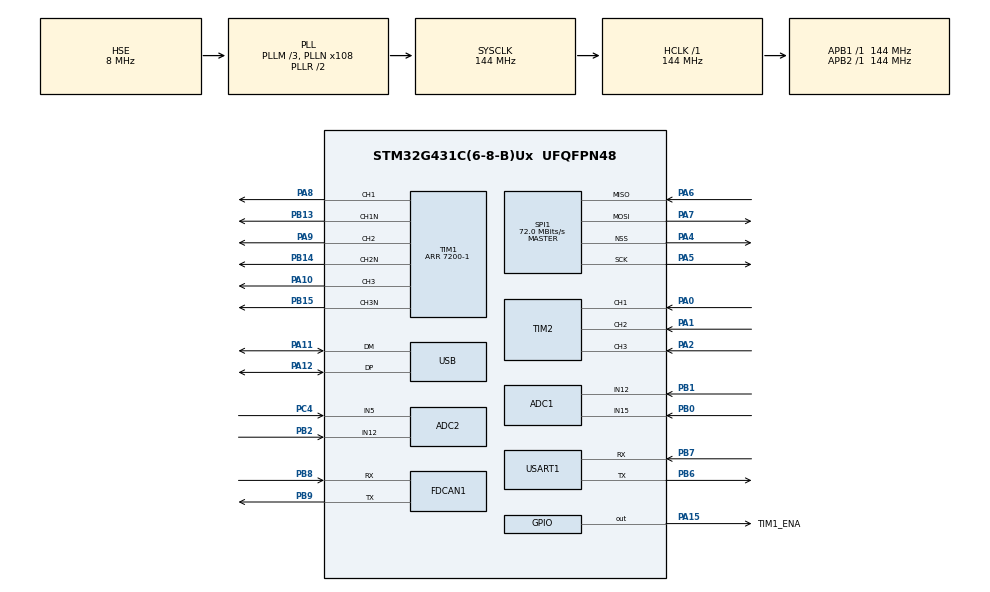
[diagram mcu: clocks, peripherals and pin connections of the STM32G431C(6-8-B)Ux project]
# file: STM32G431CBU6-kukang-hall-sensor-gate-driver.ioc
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ADC1.Channel-0\#ChannelRegularConversion=ADC_CHANNEL_15
ADC1.EnableInjectedConversion=ENABLE
ADC1.ExternalTrigInjecConv=ADC_EXTERNALTRIGINJEC_T1_TRGO
ADC1.InjNumberOfConversion=2
ADC1.InjectedChannel-1\#ChannelInjectedConversion=ADC_CHANNEL_15
ADC1.InjectedChannel-2\#ChannelInjectedConversion=ADC_CHANNEL_12
ADC1.InjectedConvMode=Discontinuous
ADC1.InjectedOffsetNumber-1\#ChannelInjectedConversion=ADC_OFFSET_NONE
ADC1.InjectedOffsetNumber-2\#ChannelInjectedConversion=ADC_OFFSET_NONE
ADC1.InjectedRank-1\#ChannelInjectedConversion=1
ADC1.InjectedRank-2\#ChannelInjectedConversion=2
ADC1.InjectedSamplingTime-1\#ChannelInjectedConversion=ADC_SAMPLETIME_6CYCLES_5
ADC1.InjectedSamplingTime-2\#ChannelInjectedConversion=ADC_SAMPLETIME_6CYCLES_5
ADC1.NbrOfConversionFlag=1
ADC1.OffsetNumber-0\#ChannelRegularConversion=ADC_OFFSET_NONE
ADC1.Rank-0\#ChannelRegularConversion=1
ADC1.Rank1_Channel=ADC_CHANNEL_15
ADC1.Rank2_Channel=ADC_CHANNEL_12
ADC1.SamplingTime-0\#ChannelRegularConversion=ADC_SAMPLETIME_2CYCLES_5
ADC1.master=1
ADC2.Channel-2\#ChannelRegularConversion=ADC_CHANNEL_12
ADC2.EnableInjectedConversion=ENABLE
ADC2.EnableRegularConversion=ENABLE
ADC2.ExternalTrigInjecConv=ADC_EXTERNALTRIGINJEC_T1_TRGO
ADC2.InjNumberOfConversion=2
ADC2.InjectedChannel-3\#ChannelInjectedConversion=ADC_CHANNEL_12
ADC2.InjectedChannel-4\#ChannelInjectedConversion=ADC_CHANNEL_5
ADC2.InjectedConvMode=Discontinuous
ADC2.InjectedOffsetNumber-3\#ChannelInjectedConversion=ADC_OFFSET_NONE
ADC2.InjectedOffsetNumber-4\#ChannelInjectedConversion=ADC_OFFSET_NONE
ADC2.InjectedRank-3\#ChannelInjectedConversion=1
ADC2.InjectedRank-4\#ChannelInjectedConversion=2
ADC2.InjectedSamplingTime-3\#ChannelInjectedConversion=ADC_SAMPLETIME_6CYCLES_5
ADC2.InjectedSamplingTime-4\#ChannelInjectedConversion=ADC_SAMPLETIME_6CYCLES_5
ADC2.NbrOfConversionFlag=1
ADC2.OffsetNumber-2\#ChannelRegularConversion=ADC_OFFSET_NONE
ADC2.Rank-2\#ChannelRegularConversion=1
ADC2.Rank2_Channel=ADC_CHANNEL_5
ADC2.SamplingTime-2\#ChannelRegularConversion=ADC_SAMPLETIME_2CYCLES_5
FDCAN1.CalculateBaudRateNominal=500000
FDCAN1.CalculateTimeBitNominal=2000
FDCAN1.CalculateTimeQuantumNominal=500.0
FDCAN1.NominalPrescaler=72
FDCAN1.NominalTimeSeg1=2
Mcu.Family=STM32G4
Mcu.Name=STM32G431C(6-8-B)Ux
Mcu.Package=UFQFPN48
NVIC.ADC1_2_IRQn=true\:0\:0\:false\:false\:true\:true\:true\:true
NVIC.FDCAN1_IT0_IRQn=true\:0\:0\:false\:false\:true\:true\:true\:true
NVIC.FDCAN1_IT1_IRQn=true\:0\:0\:false\:false\:true\:true\:true\:true
NVIC.PriorityGroup=NVIC_PRIORITYGROUP_4
NVIC.TIM1_BRK_TIM15_IRQn=true\:0\:0\:false\:false\:true\:true\:true\:true
NVIC.TIM1_CC_IRQn=true\:0\:0\:false\:false\:true\:true\:true\:true
NVIC.TIM1_TRG_COM_TIM17_IRQn=true\:0\:0\:false\:false\:true\:true\:true\:true
NVIC.TIM1_UP_TIM16_IRQn=true\:0\:0\:false\:false\:true\:true\:true\:true
NVIC.TIM2_IRQn=true\:0\:0\:false\:false\:true\:true\:true\:true
NVIC.USB_LP_IRQn=true\:0\:0\:false\:false\:true\:false\:true\:true
PA0.GPIO_ModeDefaultPP=GPIO_MODE_AF_PP
PA0.GPIO_PuPd=GPIO_NOPULL
PA0.Signal=S_TIM2_CH1
PA1.GPIO_ModeDefaultPP=GPIO_MODE_AF_PP
PA1.GPIO_PuPd=GPIO_NOPULL
PA1.Signal=S_TIM2_CH2
PA10.GPIO_PuPd=GPIO_PULLDOWN
PA10.Signal=S_TIM1_CH3
PA11.Mode=Device
PA11.Signal=USB_DM
PA12.Mode=Device
PA12.Signal=USB_DP
PA13.Mode=Serial_Wire
PA13.Signal=SYS_JTMS-SWDIO
PA14.Mode=Serial_Wire
PA14.Signal=SYS_JTCK-SWCLK
PA15.GPIO_Label=TIM1_ENA
PA15.GPIO_PuPd=GPIO_PULLDOWN
PA15.Signal=GPIO_Output
PA2.GPIO_ModeDefaultPP=GPIO_MODE_AF_PP
PA2.GPIO_PuPd=GPIO_NOPULL
PA2.Signal=S_TIM2_CH3
PA4.Mode=NSS_Signal_Hard_Output
PA4.Signal=SPI1_NSS
PA5.Mode=Full_Duplex_Master
PA5.Signal=SPI1_SCK
PA6.Mode=Full_Duplex_Master
PA6.Signal=SPI1_MISO
PA7.Mode=Full_Duplex_Master
PA7.Signal=SPI1_MOSI
PA8.GPIO_PuPd=GPIO_PULLDOWN
PA8.Signal=S_TIM1_CH1
PA9.GPIO_PuPd=GPIO_PULLDOWN
PA9.Signal=S_TIM1_CH2
PB0.Mode=IN15-Single-Ended
PB0.Signal=ADC1_IN15
PB1.Mode=IN12-Single-Ended
PB1.Signal=ADC1_IN12
PB13.GPIO_PuPd=GPIO_PULLDOWN
PB13.Mode=PWM Generation1 CH1 CH1N
PB13.Signal=TIM1_CH1N
PB14.GPIO_PuPd=GPIO_PULLDOWN
PB14.Mode=PWM Generation2 CH2 CH2N
PB14.Signal=TIM1_CH2N
PB15.GPIO_PuPd=GPIO_PULLDOWN
PB15.Mode=PWM Generation3 CH3 CH3N
PB15.Signal=TIM1_CH3N
PB2.Mode=IN12-Single-Ended
PB2.Signal=ADC2_IN12
PB6.Mode=Asynchronous
PB6.Signal=USART1_TX
PB7.Mode=Asynchronous
PB7.Signal=USART1_RX
PB8-BOOT0.GPIO_PuPd=GPIO_PULLUP
PB8-BOOT0.GPIO_Speed=GPIO_SPEED_FREQ_VERY_HIGH
PB8-BOOT0.Mode=FDCAN_Activate
PB8-BOOT0.Signal=FDCAN1_RX
PB9.GPIO_Speed=GPIO_SPEED_FREQ_VERY_HIGH
PB9.Mode=FDCAN_Activate
PB9.Signal=FDCAN1_TX
PC14-OSC32_IN.Mode=LSE-External-Oscillator
PC14-OSC32_IN.Signal=RCC_OSC32_IN
PC15-OSC32_OUT.Mode=LSE-External-Oscillator
PC15-OSC32_OUT.Signal=RCC_OSC32_OUT
PC4.Mode=IN5-Single-Ended
PC4.Signal=ADC2_IN5
PF0-OSC_IN.Mode=HSE-External-Oscillator
PF0-OSC_IN.Signal=RCC_OSC_IN
PF1-OSC_OUT.Mode=HSE-External-Oscillator
PF1-OSC_OUT.Signal=RCC_OSC_OUT
ProjectManager.HeapSize=0x200
ProjectManager.StackSize=0x400
ProjectManager.TargetToolchain=STM32CubeIDE
RCC.ADC12Freq_Value=144000000
RCC.AHBFreq_Value=144000000
RCC.APB1Freq_Value=144000000
RCC.APB1TimFreq_Value=144000000
RCC.APB2Freq_Value=144000000
RCC.APB2TimFreq_Value=144000000
RCC.CortexFreq_Value=144000000
RCC.EXTERNAL_CLOCK_VALUE=12288000
RCC.HCLKFreq_Value=144000000
RCC.HSE_VALUE=8000000
RCC.HSI48_VALUE=48000000
RCC.HSI_VALUE=16000000
RCC.PLLM=RCC_PLLM_DIV3
RCC.PLLN=108
RCC.PLLQ=RCC_PLLQ_DIV6
RCC.PLLSourceVirtual=RCC_PLLSOURCE_HSE
RCC.SYSCLKFreq_VALUE=144000000
RCC.SYSCLKSource=RCC_SYSCLKSOURCE_PLLCLK
RCC.USBFreq_Value=48000000
RCC.VCOOutputFreq_Value=288000000
SH.S_TIM1_CH1.0=TIM1_CH1,PWM Generation1 CH1 CH1N
SH.S_TIM1_CH2.0=TIM1_CH2,PWM Generation2 CH2 CH2N
SH.S_TIM1_CH3.0=TIM1_CH3,PWM Generation3 CH3 CH3N
SH.S_TIM2_CH1.0=TIM2_CH1,Xored_Inputs_Hall_Sensor_Interface
SH.S_TIM2_CH2.0=TIM2_CH2,Xored_Inputs_Hall_Sensor_Interface
SH.S_TIM2_CH3.0=TIM2_CH3,Xored_Inputs_Hall_Sensor_Interface
SPI1.CalculateBaudRate=72.0 MBits/s
SPI1.Direction=SPI_DIRECTION_2LINES
SPI1.Mode=SPI_MODE_MASTER
SPI1.VirtualNSS=VM_NSSHARD
SPI1.VirtualType=VM_MASTER
TIM1.Channel-PWM\ Generation1\ CH1\ CH1N=TIM_CHANNEL_1
TIM1.Channel-PWM\ Generation2\ CH2\ CH2N=TIM_CHANNEL_2
TIM1.Channel-PWM\ Generation3\ CH3\ CH3N=TIM_CHANNEL_3
TIM1.Channel-PWM\ Generation4\ No\ Output=TIM_CHANNEL_4
TIM1.DeadTime=136
TIM1.OCIdleState_1=TIM_OCIDLESTATE_RESET
TIM1.OCIdleState_2=TIM_OCIDLESTATE_RESET
TIM1.OCIdleState_3=TIM_OCIDLESTATE_RESET
TIM1.OCNIdleState_1=TIM_OCNIDLESTATE_RESET
TIM1.OCNIdleState_2=TIM_OCNIDLESTATE_RESET
TIM1.OCNIdleState_3=TIM_OCNIDLESTATE_RESET
TIM1.OCNPolarity_1=TIM_OCNPOLARITY_HIGH
TIM1.OCNPolarity_2=TIM_OCNPOLARITY_HIGH
TIM1.OCNPolarity_3=TIM_OCNPOLARITY_HIGH
TIM1.OCPolarity_1=TIM_OCPOLARITY_HIGH
TIM1.OCPolarity_2=TIM_OCPOLARITY_HIGH
TIM1.OCPolarity_3=TIM_OCPOLARITY_HIGH
TIM1.PeriodNoDither=7200-1
TIM1.TIM_MasterOutputTrigger=TIM_TRGO_OC1
USART1.VirtualMode-Asynchronous=VM_ASYNC
USB_DEVICE.CLASS_NAME_FS=CDC
USB_DEVICE.VirtualMode=Cdc
USB_DEVICE.VirtualModeFS=Cdc_FS
VP_CORDIC_VS_CORDIC.Mode=CORDIC_Activate
VP_FMAC_VS_FMAC.Mode=FMAC_Activate
VP_SYS_VS_DBSignals.Mode=DisableDeadBatterySignals
VP_TIM1_VS_no_output4.Mode=PWM Generation4 No Output
VP_USB_DEVICE_VS_USB_DEVICE_CDC_FS.Mode=CDC_FS
board=custom

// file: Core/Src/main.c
/* USER CODE BEGIN Header */
/**
 ******************************************************************************
 * @file           : main.c
 * @brief          : Main program body
 ******************************************************************************
 * @attention
 *
 * Copyright (c) 2026 STMicroelectronics.
 * All rights reserved.
 *
 * This software is licensed under terms that can be found in the LICENSE file
 * in the root directory of this software component.
 * If no LICENSE file comes with this software, it is provided AS-IS.
 *
 ******************************************************************************
 */
/* USER CODE END Header */
#include "main.h"
#include "usb_device.h"

/* USER CODE BEGIN Includes */
#include "config.h"
#include "current_sensor.h"
#include "six_step.h"

/* USER CODE END Includes */

ADC_HandleTypeDef hadc1;
ADC_HandleTypeDef hadc2;

CORDIC_HandleTypeDef hcordic;

FDCAN_HandleTypeDef hfdcan1;

FMAC_HandleTypeDef hfmac;

SPI_HandleTypeDef hspi1;

TIM_HandleTypeDef htim1;
TIM_HandleTypeDef htim2;

UART_HandleTypeDef huart1;

/* USER CODE BEGIN PV */
uint8_t usb_rx_buffer[64];
uint8_t usb_rx_index = 0;
uint8_t usb_cmd_ready = 0;
/* USER CODE END PV */

void SystemClock_Config(void);
static void MX_GPIO_Init(void);
static void MX_FDCAN1_Init(void);
static void MX_SPI1_Init(void);
static void MX_TIM1_Init(void);
static void MX_USART1_UART_Init(void);
static void MX_TIM2_Init(void);
static void MX_CORDIC_Init(void);
static void MX_FMAC_Init(void);
static void MX_ADC1_Init(void);
static void MX_ADC2_Init(void);
/* USER CODE BEGIN PFP */
void Process_USB_Receive(uint8_t *Buf, uint32_t Len);
void Parse_USB_Command(void);
/* USER CODE END PFP */

/* USER CODE BEGIN 0 */
FDCAN_RxHeaderTypeDef RxHeader;
uint8_t RxData[8];

volatile uint32_t last_can_cmd_tick = 0;
volatile uint8_t can_motor_active = 0;
volatile uint8_t can_cmd_pending = 0;
volatile uint8_t can_target_run_state = 0;
volatile uint16_t can_target_rpm = 0;

void Check_PB8_BOOT0_Config(void) {
  FLASH_OBProgramInitTypeDef OBInit;
  HAL_FLASHEx_OBGetConfig(&OBInit);

  // If BOOT0 is currently taken from PIN (FLASH_OPTR_nSWBOOT0 is set),
  // we must change it to OB_BOOT0_FROM_OB and ensure nBOOT0 = 1 so PB8 is freed
  // for CAN RX!
  if ((OBInit.USERConfig & FLASH_OPTR_nSWBOOT0) != 0) {
    HAL_FLASH_Unlock();
    HAL_FLASH_OB_Unlock();

    OBInit.OptionType = OPTIONBYTE_USER;
    OBInit.USERType = OB_USER_nSWBOOT0 | OB_USER_nBOOT0;
    OBInit.USERConfig = OB_BOOT0_FROM_OB | OB_nBOOT0_SET;

    if (HAL_FLASHEx_OBProgram(&OBInit) == HAL_OK) {
      HAL_FLASH_OB_Launch(); // Applies Option Bytes and resets MCU
    }
    HAL_FLASH_OB_Lock();
    HAL_FLASH_Lock();
  }
}

void HAL_FDCAN_RxFifo0Callback(FDCAN_HandleTypeDef *hfdcan,
                               uint32_t RxFifo0ITs) {
  if ((RxFifo0ITs & FDCAN_IT_RX_FIFO0_NEW_MESSAGE) != RESET) {
    if (HAL_FDCAN_GetRxMessage(hfdcan, FDCAN_RX_FIFO0, &RxHeader, RxData) ==
        HAL_OK) {
      if (RxHeader.Identifier == 0x10) {
        can_target_run_state = RxData[0];
        can_target_rpm = (uint16_t)(RxData[1] | (RxData[2] << 8));
        last_can_cmd_tick = HAL_GetTick();
        can_cmd_pending = 1;
      }
    }
  }
}

void Process_USB_Receive(uint8_t *Buf, uint32_t Len) {
  for (uint32_t i = 0; i < Len; i++) {
    if (usb_rx_index < sizeof(usb_rx_buffer) - 1) {
      usb_rx_buffer[usb_rx_index++] = Buf[i];
      if (Buf[i] == '\n' || Buf[i] == '\r') {
        usb_cmd_ready = 1;
      }
    } else {
      usb_rx_index = 0; // Overflow, reset
    }
  }
}

void Parse_USB_Command(void) {
  if (usb_cmd_ready) {
    for (int i = 0; i < usb_rx_index; i++) {
      if (usb_rx_buffer[i] == '\r' || usb_rx_buffer[i] == '\n') {
        usb_rx_buffer[i] = '\0';
        break;
      }
    }
    usb_rx_buffer[usb_rx_index] = '\0';

    Config_ParseCommand((char *)usb_rx_buffer);

    usb_rx_index = 0;
    usb_cmd_ready = 0;
  }
}
/* USER CODE END 0 */

int main(void) {

  /* MCU Configuration--------------------------------------------------------*/

  /* Reset of all peripherals, Initializes the Flash interface and the Systick.
   */
  HAL_Init();

  /* Configure the system clock */
  SystemClock_Config();

  /* Initialize all configured peripherals */
  MX_GPIO_Init();
  MX_FDCAN1_Init();
  MX_SPI1_Init();
  MX_TIM1_Init();
  MX_USART1_UART_Init();
  MX_USB_Device_Init();
  MX_TIM2_Init();
  MX_CORDIC_Init();
  MX_FMAC_Init();
  MX_ADC1_Init();
  MX_ADC2_Init();
  /* USER CODE BEGIN 2 */
  Check_PB8_BOOT0_Config();

  FDCAN_FilterTypeDef sFilterConfig;
  sFilterConfig.IdType = FDCAN_STANDARD_ID;
  sFilterConfig.FilterIndex = 0;
  sFilterConfig.FilterType = FDCAN_FILTER_MASK;
  sFilterConfig.FilterConfig = FDCAN_FILTER_TO_RXFIFO0;
  sFilterConfig.FilterID1 = 0x000;
  sFilterConfig.FilterID2 = 0x000;

  if (HAL_FDCAN_ConfigFilter(&hfdcan1, &sFilterConfig) != HAL_OK) {
    Error_Handler();
  }

  HAL_FDCAN_ConfigGlobalFilter(&hfdcan1, FDCAN_ACCEPT_IN_RX_FIFO0,
                               FDCAN_ACCEPT_IN_RX_FIFO0, FDCAN_FILTER_REMOTE,
                               FDCAN_FILTER_REMOTE);

  if (HAL_FDCAN_Start(&hfdcan1) != HAL_OK) {
    Error_Handler();
  }

  if (HAL_FDCAN_ActivateNotification(&hfdcan1, FDCAN_IT_RX_FIFO0_NEW_MESSAGE,
                                     0) != HAL_OK) {
    Error_Handler();
  }

  Config_Init();
  Config_ApplyPWMFrequency();
  SixStep_Init();
  CurrentSensor_Init();

  // Enable DWT Cycle Counter for timing
  CoreDebug->DEMCR |= CoreDebug_DEMCR_TRCENA_Msk;
  DWT->CYCCNT = 0;
  DWT->CTRL |= DWT_CTRL_CYCCNTENA_Msk;

  uint32_t last_verbose_time = HAL_GetTick();
  uint32_t last_can_status_tick = HAL_GetTick();
  uint32_t last_cycle_count = DWT->CYCCNT;
  /* USER CODE END 2 */

  /* Infinite loop */
  while (1) {

    /* USER CODE BEGIN 3 */
    uint32_t current_time = DWT->CYCCNT;
    uint32_t cycle_diff = current_time - last_cycle_count;

    // Limit control loop to ~20kHz to prevent float precision issues with very
    // small dt
    if (cycle_diff >= (SystemCoreClock / 20000)) {
      last_cycle_count = current_time;
      float dt = (float)cycle_diff / (float)SystemCoreClock;
      SixStep_Update(dt);
    }

    Parse_USB_Command();

    if (motor_config.verbose_output == 1) {
      if (HAL_GetTick() - last_verbose_time >= motor_config.verbose_period) {
        last_verbose_time = HAL_GetTick();
        SixStep_PrintVerbose();
      }
    }

    // Process pending CAN Motor Command in thread mode (so HAL_Delay in
    // SixStep_SetRPM works safely!)
    if (can_cmd_pending) {
      can_cmd_pending = 0;
      if (can_target_run_state == 1) {
        can_motor_active = 1;
        SixStep_SetRPM((float)can_target_rpm);
      } else {
        can_motor_active = 0;
        SixStep_Stop();
      }
    }

    // CAN Safety Watchdog: Auto-stop motor if throttle command packets stop
    // arriving for >350ms
    if (can_motor_active && (HAL_GetTick() - last_can_cmd_tick > 350)) {
      SixStep_Stop();
      can_motor_active = 0;
    }

    // Heartbeat & Status frame to Telemetry (CAN ID 0x20 every 100ms)
    if (HAL_GetTick() - last_can_status_tick >= 100) {
      last_can_status_tick = HAL_GetTick();

      // Bus-Off auto-recovery: clear CCCR.INIT if hardware entered bus-off
      if ((hfdcan1.Instance->PSR & FDCAN_PSR_BO) != 0) {
        CLEAR_BIT(hfdcan1.Instance->CCCR, FDCAN_CCCR_INIT);
      }

      FDCAN_TxHeaderTypeDef tx_hdr;
      uint8_t tx_data[8] = {0};

      tx_hdr.Identifier = 0x20;
      tx_hdr.IdType = FDCAN_STANDARD_ID;
      tx_hdr.TxFrameType = FDCAN_DATA_FRAME;
      tx_hdr.DataLength = FDCAN_DLC_BYTES_8;
      tx_hdr.ErrorStateIndicator = FDCAN_ESI_ACTIVE;
      tx_hdr.BitRateSwitch = FDCAN_BRS_OFF;
      tx_hdr.FDFormat = FDCAN_CLASSIC_CAN;
      tx_hdr.TxEventFifoControl = FDCAN_NO_TX_EVENTS;
      tx_hdr.MessageMarker = 0;

      extern float Get_DC_Bus_Voltage(void);
      extern float Get_Current_Iq(void);
      float vbus = Get_DC_Bus_Voltage();
      float actual_iq = Get_Current_Iq();

      uint16_t vbus_centi = (uint16_t)(vbus * 100.0f);
      int16_t iq_centi = (int16_t)(actual_iq * 100.0f);

      tx_data[0] = can_motor_active;
      tx_data[1] = (uint8_t)(vbus_centi & 0xFF);
      tx_data[2] = (uint8_t)((vbus_centi >> 8) & 0xFF);
      tx_data[3] = (uint8_t)(iq_centi & 0xFF);
      tx_data[4] = (uint8_t)((iq_centi >> 8) & 0xFF);
      tx_data[5] = 0;
      tx_data[6] = 0;
      tx_data[7] = 0;

      if (HAL_FDCAN_GetTxFifoFreeLevel(&hfdcan1) > 0) {
        HAL_FDCAN_AddMessageToTxFifoQ(&hfdcan1, &tx_hdr, tx_data);
      } else {
        HAL_FDCAN_AbortTxRequest(&hfdcan1, FDCAN_TX_BUFFER0 | FDCAN_TX_BUFFER1 |
                                               FDCAN_TX_BUFFER2);
      }
    }
  }
  /* USER CODE END 3 */
}

void SystemClock_Config(void) {
  RCC_OscInitTypeDef RCC_OscInitStruct = {0};
  RCC_ClkInitTypeDef RCC_ClkInitStruct = {0};

  /** Configure the main internal regulator output voltage
   */
  HAL_PWREx_ControlVoltageScaling(PWR_REGULATOR_VOLTAGE_SCALE1);

  /** Initializes the RCC Oscillators according to the specified parameters
   * in the RCC_OscInitTypeDef structure.
   */
  RCC_OscInitStruct.OscillatorType = RCC_OSCILLATORTYPE_HSE;
  RCC_OscInitStruct.HSEState = RCC_HSE_ON;
  RCC_OscInitStruct.PLL.PLLState = RCC_PLL_ON;
  RCC_OscInitStruct.PLL.PLLSource = RCC_PLLSOURCE_HSE;
  RCC_OscInitStruct.PLL.PLLM = RCC_PLLM_DIV3;
  RCC_OscInitStruct.PLL.PLLN = 108;
  RCC_OscInitStruct.PLL.PLLP = RCC_PLLP_DIV2;
  RCC_OscInitStruct.PLL.PLLQ = RCC_PLLQ_DIV6;
  RCC_OscInitStruct.PLL.PLLR = RCC_PLLR_DIV2;
  if (HAL_RCC_OscConfig(&RCC_OscInitStruct) != HAL_OK) {
    Error_Handler();
  }

  /** Initializes the CPU, AHB and APB buses clocks
   */
  RCC_ClkInitStruct.ClockType = RCC_CLOCKTYPE_HCLK | RCC_CLOCKTYPE_SYSCLK |
                                RCC_CLOCKTYPE_PCLK1 | RCC_CLOCKTYPE_PCLK2;
  RCC_ClkInitStruct.SYSCLKSource = RCC_SYSCLKSOURCE_PLLCLK;
  RCC_ClkInitStruct.AHBCLKDivider = RCC_SYSCLK_DIV1;
  RCC_ClkInitStruct.APB1CLKDivider = RCC_HCLK_DIV1;
  RCC_ClkInitStruct.APB2CLKDivider = RCC_HCLK_DIV1;

  if (HAL_RCC_ClockConfig(&RCC_ClkInitStruct, FLASH_LATENCY_4) != HAL_OK) {
    Error_Handler();
  }
}

static void MX_ADC1_Init(void) {

  ADC_MultiModeTypeDef multimode = {0};
  ADC_ChannelConfTypeDef sConfig = {0};
  ADC_InjectionConfTypeDef sConfigInjected = {0};

  /** Common config
   */
  hadc1.Instance = ADC1;
  hadc1.Init.ClockPrescaler = ADC_CLOCK_SYNC_PCLK_DIV4;
  hadc1.Init.Resolution = ADC_RESOLUTION_12B;
  hadc1.Init.DataAlign = ADC_DATAALIGN_RIGHT;
  hadc1.Init.GainCompensation = 0;
  hadc1.Init.ScanConvMode = ADC_SCAN_ENABLE;
  hadc1.Init.EOCSelection = ADC_EOC_SINGLE_CONV;
  hadc1.Init.LowPowerAutoWait = DISABLE;
  hadc1.Init.ContinuousConvMode = DISABLE;
  hadc1.Init.NbrOfConversion = 1;
  hadc1.Init.DiscontinuousConvMode = DISABLE;
  hadc1.Init.ExternalTrigConv = ADC_SOFTWARE_START;
  hadc1.Init.ExternalTrigConvEdge = ADC_EXTERNALTRIGCONVEDGE_NONE;
  hadc1.Init.DMAContinuousRequests = DISABLE;
  hadc1.Init.Overrun = ADC_OVR_DATA_PRESERVED;
  hadc1.Init.OversamplingMode = DISABLE;
  if (HAL_ADC_Init(&hadc1) != HAL_OK) {
    Error_Handler();
  }

  /** Configure the ADC multi-mode
   */
  multimode.Mode = ADC_MODE_INDEPENDENT;
  if (HAL_ADCEx_MultiModeConfigChannel(&hadc1, &multimode) != HAL_OK) {
    Error_Handler();
  }

  /** Configure Regular Channel
   */
  sConfig.Channel = ADC_CHANNEL_15;
  sConfig.Rank = ADC_REGULAR_RANK_1;
  sConfig.SamplingTime = ADC_SAMPLETIME_2CYCLES_5;
  sConfig.SingleDiff = ADC_SINGLE_ENDED;
  sConfig.OffsetNumber = ADC_OFFSET_NONE;
  sConfig.Offset = 0;
  if (HAL_ADC_ConfigChannel(&hadc1, &sConfig) != HAL_OK) {
    Error_Handler();
  }

  /** Configure Injected Channel
   */
  sConfigInjected.InjectedChannel = ADC_CHANNEL_15;
  sConfigInjected.InjectedRank = ADC_INJECTED_RANK_1;
  sConfigInjected.InjectedSamplingTime = ADC_SAMPLETIME_6CYCLES_5;
  sConfigInjected.InjectedSingleDiff = ADC_SINGLE_ENDED;
  sConfigInjected.InjectedOffsetNumber = ADC_OFFSET_NONE;
  sConfigInjected.InjectedOffset = 0;
  sConfigInjected.InjectedNbrOfConversion = 2;
  sConfigInjected.InjectedDiscontinuousConvMode = DISABLE;
  sConfigInjected.AutoInjectedConv = DISABLE;
  sConfigInjected.QueueInjectedContext = DISABLE;
  sConfigInjected.ExternalTrigInjecConv = ADC_EXTERNALTRIGINJEC_T1_TRGO;
  sConfigInjected.ExternalTrigInjecConvEdge =
      ADC_EXTERNALTRIGINJECCONV_EDGE_RISING;
  sConfigInjected.InjecOversamplingMode = DISABLE;
  if (HAL_ADCEx_InjectedConfigChannel(&hadc1, &sConfigInjected) != HAL_OK) {
    Error_Handler();
  }

  /** Configure Injected Channel
   */
  sConfigInjected.InjectedChannel = ADC_CHANNEL_12;
  sConfigInjected.InjectedRank = ADC_INJECTED_RANK_2;
  if (HAL_ADCEx_InjectedConfigChannel(&hadc1, &sConfigInjected) != HAL_OK) {
    Error_Handler();
  }
  /* USER CODE BEGIN ADC1_Init 2 */

  /** Configure Injected Channel
   */
  sConfigInjected.InjectedChannel = ADC_CHANNEL_15;
  sConfigInjected.InjectedRank = ADC_INJECTED_RANK_1;
  sConfigInjected.InjectedSamplingTime = ADC_SAMPLETIME_6CYCLES_5;
  sConfigInjected.InjectedSingleDiff = ADC_SINGLE_ENDED;
  sConfigInjected.InjectedOffsetNumber = ADC_OFFSET_NONE;
  sConfigInjected.InjectedOffset = 0;
  sConfigInjected.InjectedNbrOfConversion = 2;
  sConfigInjected.InjectedDiscontinuousConvMode = DISABLE;
  sConfigInjected.AutoInjectedConv = DISABLE;
  sConfigInjected.QueueInjectedContext = DISABLE;
  sConfigInjected.ExternalTrigInjecConv = ADC_EXTERNALTRIGINJEC_T1_TRGO;
  sConfigInjected.ExternalTrigInjecConvEdge =
      ADC_EXTERNALTRIGINJECCONV_EDGE_RISING;
  sConfigInjected.InjecOversamplingMode = DISABLE;
  if (HAL_ADCEx_InjectedConfigChannel(&hadc1, &sConfigInjected) != HAL_OK) {
    Error_Handler();
  }

  /** Configure Injected Channel
   */
  sConfigInjected.InjectedChannel = ADC_CHANNEL_12;
  sConfigInjected.InjectedRank = ADC_INJECTED_RANK_2;
  if (HAL_ADCEx_InjectedConfigChannel(&hadc1, &sConfigInjected) != HAL_OK) {
    Error_Handler();
  }
  /* USER CODE END ADC1_Init 2 */
}

static void MX_ADC2_Init(void) {

  ADC_ChannelConfTypeDef sConfig = {0};
  ADC_InjectionConfTypeDef sConfigInjected = {0};

  /** Common config
   */
  hadc2.Instance = ADC2;
  hadc2.Init.ClockPrescaler = ADC_CLOCK_SYNC_PCLK_DIV4;
  hadc2.Init.Resolution = ADC_RESOLUTION_12B;
  hadc2.Init.DataAlign = ADC_DATAALIGN_RIGHT;
  hadc2.Init.GainCompensation = 0;
  hadc2.Init.ScanConvMode = ADC_SCAN_ENABLE;
  hadc2.Init.EOCSelection = ADC_EOC_SINGLE_CONV;
  hadc2.Init.LowPowerAutoWait = DISABLE;
  hadc2.Init.ContinuousConvMode = DISABLE;
  hadc2.Init.NbrOfConversion = 1;
  hadc2.Init.DiscontinuousConvMode = DISABLE;
  hadc2.Init.ExternalTrigConv = ADC_SOFTWARE_START;
  hadc2.Init.ExternalTrigConvEdge = ADC_EXTERNALTRIGCONVEDGE_NONE;
  hadc2.Init.DMAContinuousRequests = DISABLE;
  hadc2.Init.Overrun = ADC_OVR_DATA_PRESERVED;
  hadc2.Init.OversamplingMode = DISABLE;
  if (HAL_ADC_Init(&hadc2) != HAL_OK) {
    Error_Handler();
  }

  /** Configure Regular Channel
   */
  sConfig.Channel = ADC_CHANNEL_12;
  sConfig.Rank = ADC_REGULAR_RANK_1;
  sConfig.SamplingTime = ADC_SAMPLETIME_2CYCLES_5;
  sConfig.SingleDiff = ADC_SINGLE_ENDED;
  sConfig.OffsetNumber = ADC_OFFSET_NONE;
  sConfig.Offset = 0;
  if (HAL_ADC_ConfigChannel(&hadc2, &sConfig) != HAL_OK) {
    Error_Handler();
  }

  /** Configure Injected Channel
   */
  sConfigInjected.InjectedChannel = ADC_CHANNEL_12;
  sConfigInjected.InjectedRank = ADC_INJECTED_RANK_1;
  sConfigInjected.InjectedSamplingTime = ADC_SAMPLETIME_6CYCLES_5;
  sConfigInjected.InjectedSingleDiff = ADC_SINGLE_ENDED;
  sConfigInjected.InjectedOffsetNumber = ADC_OFFSET_NONE;
  sConfigInjected.InjectedOffset = 0;
  sConfigInjected.InjectedNbrOfConversion = 2;
  sConfigInjected.InjectedDiscontinuousConvMode = DISABLE;
  sConfigInjected.AutoInjectedConv = DISABLE;
  sConfigInjected.QueueInjectedContext = DISABLE;
  sConfigInjected.ExternalTrigInjecConv = ADC_EXTERNALTRIGINJEC_T1_TRGO;
  sConfigInjected.ExternalTrigInjecConvEdge =
      ADC_EXTERNALTRIGINJECCONV_EDGE_RISING;
  sConfigInjected.InjecOversamplingMode = DISABLE;
  if (HAL_ADCEx_InjectedConfigChannel(&hadc2, &sConfigInjected) != HAL_OK) {
    Error_Handler();
  }

  /** Configure Injected Channel
   */
  sConfigInjected.InjectedChannel = ADC_CHANNEL_5;
  sConfigInjected.InjectedRank = ADC_INJECTED_RANK_2;
  if (HAL_ADCEx_InjectedConfigChannel(&hadc2, &sConfigInjected) != HAL_OK) {
    Error_Handler();
  }
}

static void MX_CORDIC_Init(void) {

  hcordic.Instance = CORDIC;
  if (HAL_CORDIC_Init(&hcordic) != HAL_OK) {
    Error_Handler();
  }
}

static void MX_FDCAN1_Init(void) {

  hfdcan1.Instance = FDCAN1;
  hfdcan1.Init.ClockDivider = FDCAN_CLOCK_DIV1;
  hfdcan1.Init.FrameFormat = FDCAN_FRAME_CLASSIC;
  hfdcan1.Init.Mode = FDCAN_MODE_NORMAL;
  hfdcan1.Init.AutoRetransmission = DISABLE;
  hfdcan1.Init.TransmitPause = DISABLE;
  hfdcan1.Init.ProtocolException = DISABLE;
  hfdcan1.Init.NominalPrescaler = 72;
  hfdcan1.Init.NominalSyncJumpWidth = 1;
  hfdcan1.Init.NominalTimeSeg1 = 2;
  hfdcan1.Init.NominalTimeSeg2 = 1;
  hfdcan1.Init.DataPrescaler = 1;
  hfdcan1.Init.DataSyncJumpWidth = 1;
  hfdcan1.Init.DataTimeSeg1 = 1;
  hfdcan1.Init.DataTimeSeg2 = 1;
  hfdcan1.Init.StdFiltersNbr = 0;
  hfdcan1.Init.ExtFiltersNbr = 0;
  hfdcan1.Init.TxFifoQueueMode = FDCAN_TX_FIFO_OPERATION;
  if (HAL_FDCAN_Init(&hfdcan1) != HAL_OK) {
    Error_Handler();
  }
}

static void MX_FMAC_Init(void) {

  hfmac.Instance = FMAC;
  if (HAL_FMAC_Init(&hfmac) != HAL_OK) {
    Error_Handler();
  }
}

static void MX_SPI1_Init(void) {

  /* SPI1 parameter configuration*/
  hspi1.Instance = SPI1;
  hspi1.Init.Mode = SPI_MODE_MASTER;
  hspi1.Init.Direction = SPI_DIRECTION_2LINES;
  hspi1.Init.DataSize = SPI_DATASIZE_4BIT;
  hspi1.Init.CLKPolarity = SPI_POLARITY_LOW;
  hspi1.Init.CLKPhase = SPI_PHASE_1EDGE;
  hspi1.Init.NSS = SPI_NSS_HARD_OUTPUT;
  hspi1.Init.BaudRatePrescaler = SPI_BAUDRATEPRESCALER_2;
  hspi1.Init.FirstBit = SPI_FIRSTBIT_MSB;
  hspi1.Init.TIMode = SPI_TIMODE_DISABLE;
  hspi1.Init.CRCCalculation = SPI_CRCCALCULATION_DISABLE;
  hspi1.Init.CRCPolynomial = 7;
  hspi1.Init.CRCLength = SPI_CRC_LENGTH_DATASIZE;
  hspi1.Init.NSSPMode = SPI_NSS_PULSE_ENABLE;
  if (HAL_SPI_Init(&hspi1) != HAL_OK) {
    Error_Handler();
  }
}

static void MX_TIM1_Init(void) {

  TIM_MasterConfigTypeDef sMasterConfig = {0};
  TIM_OC_InitTypeDef sConfigOC = {0};
  TIM_BreakDeadTimeConfigTypeDef sBreakDeadTimeConfig = {0};

  htim1.Instance = TIM1;
  htim1.Init.Prescaler = 0;
  htim1.Init.CounterMode = TIM_COUNTERMODE_UP;
  htim1.Init.Period = 7199;
  htim1.Init.ClockDivision = TIM_CLOCKDIVISION_DIV1;
  htim1.Init.RepetitionCounter = 0;
  htim1.Init.AutoReloadPreload = TIM_AUTORELOAD_PRELOAD_DISABLE;
  if (HAL_TIM_PWM_Init(&htim1) != HAL_OK) {
    Error_Handler();
  }
  sMasterConfig.MasterOutputTrigger = TIM_TRGO_OC1;
  sMasterConfig.MasterOutputTrigger2 = TIM_TRGO2_RESET;
  sMasterConfig.MasterSlaveMode = TIM_MASTERSLAVEMODE_DISABLE;
  if (HAL_TIMEx_MasterConfigSynchronization(&htim1, &sMasterConfig) != HAL_OK) {
    Error_Handler();
  }
  sConfigOC.OCMode = TIM_OCMODE_PWM1;
  sConfigOC.Pulse = 0;
  sConfigOC.OCPolarity = TIM_OCPOLARITY_HIGH;
  sConfigOC.OCNPolarity = TIM_OCNPOLARITY_HIGH;
  sConfigOC.OCFastMode = TIM_OCFAST_DISABLE;
  sConfigOC.OCIdleState = TIM_OCIDLESTATE_RESET;
  sConfigOC.OCNIdleState = TIM_OCNIDLESTATE_RESET;
  if (HAL_TIM_PWM_ConfigChannel(&htim1, &sConfigOC, TIM_CHANNEL_1) != HAL_OK) {
    Error_Handler();
  }
  if (HAL_TIM_PWM_ConfigChannel(&htim1, &sConfigOC, TIM_CHANNEL_2) != HAL_OK) {
    Error_Handler();
  }
  if (HAL_TIM_PWM_ConfigChannel(&htim1, &sConfigOC, TIM_CHANNEL_3) != HAL_OK) {
    Error_Handler();
  }
  if (HAL_TIM_PWM_ConfigChannel(&htim1, &sConfigOC, TIM_CHANNEL_4) != HAL_OK) {
    Error_Handler();
  }
  sBreakDeadTimeConfig.OffStateRunMode = TIM_OSSR_DISABLE;
  sBreakDeadTimeConfig.OffStateIDLEMode = TIM_OSSI_DISABLE;
  sBreakDeadTimeConfig.LockLevel = TIM_LOCKLEVEL_OFF;
  sBreakDeadTimeConfig.DeadTime = 136;
  sBreakDeadTimeConfig.BreakState = TIM_BREAK_DISABLE;
  sBreakDeadTimeConfig.BreakPolarity = TIM_BREAKPOLARITY_HIGH;
  sBreakDeadTimeConfig.BreakFilter = 0;
  sBreakDeadTimeConfig.BreakAFMode = TIM_BREAK_AFMODE_INPUT;
  sBreakDeadTimeConfig.Break2State = TIM_BREAK2_DISABLE;
  sBreakDeadTimeConfig.Break2Polarity = TIM_BREAK2POLARITY_HIGH;
  sBreakDeadTimeConfig.Break2Filter = 0;
  sBreakDeadTimeConfig.Break2AFMode = TIM_BREAK_AFMODE_INPUT;
  sBreakDeadTimeConfig.AutomaticOutput = TIM_AUTOMATICOUTPUT_DISABLE;
  if (HAL_TIMEx_ConfigBreakDeadTime(&htim1, &sBreakDeadTimeConfig) != HAL_OK) {
    Error_Handler();
  }
  HAL_TIM_MspPostInit(&htim1);
}

static void MX_TIM2_Init(void) {

  TIM_HallSensor_InitTypeDef sConfig = {0};
  TIM_MasterConfigTypeDef sMasterConfig = {0};

  htim2.Instance = TIM2;
  htim2.Init.Prescaler = 0;
  htim2.Init.CounterMode = TIM_COUNTERMODE_UP;
  htim2.Init.Period = 4294967295;
  htim2.Init.ClockDivision = TIM_CLOCKDIVISION_DIV1;
  htim2.Init.AutoReloadPreload = TIM_AUTORELOAD_PRELOAD_DISABLE;
  sConfig.IC1Polarity = TIM_ICPOLARITY_RISING;
  sConfig.IC1Prescaler = TIM_ICPSC_DIV1;
  sConfig.IC1Filter = 0x0F;
  sConfig.Commutation_Delay = 0;
  if (HAL_TIMEx_HallSensor_Init(&htim2, &sConfig) != HAL_OK) {
    Error_Handler();
  }
  sMasterConfig.MasterOutputTrigger = TIM_TRGO_OC2REF;
  sMasterConfig.MasterSlaveMode = TIM_MASTERSLAVEMODE_DISABLE;
  if (HAL_TIMEx_MasterConfigSynchronization(&htim2, &sMasterConfig) != HAL_OK) {
    Error_Handler();
  }
  /* USER CODE BEGIN TIM2_Init 2 */
  htim2.Instance = TIM2;
  htim2.Init.Prescaler = 0;
  htim2.Init.CounterMode = TIM_COUNTERMODE_UP;
  htim2.Init.Period = 4294967295;
  htim2.Init.ClockDivision = TIM_CLOCKDIVISION_DIV1;
  htim2.Init.AutoReloadPreload = TIM_AUTORELOAD_PRELOAD_DISABLE;
  sConfig.IC1Polarity = TIM_ICPOLARITY_RISING;
  sConfig.IC1Prescaler = TIM_ICPSC_DIV1;
  sConfig.IC1Filter = 0x0F;
  sConfig.Commutation_Delay = 0;
  if (HAL_TIMEx_HallSensor_Init(&htim2, &sConfig) != HAL_OK) {
    Error_Handler();
  }
  sMasterConfig.MasterOutputTrigger = TIM_TRGO_OC2REF;
  sMasterConfig.MasterSlaveMode = TIM_MASTERSLAVEMODE_DISABLE;
  if (HAL_TIMEx_MasterConfigSynchronization(&htim2, &sMasterConfig) != HAL_OK) {
    Error_Handler();
  }
  /* USER CODE END TIM2_Init 2 */
}

static void MX_USART1_UART_Init(void) {

  huart1.Instance = USART1;
  huart1.Init.BaudRate = 115200;
  huart1.Init.WordLength = UART_WORDLENGTH_8B;
  huart1.Init.StopBits = UART_STOPBITS_1;
  huart1.Init.Parity = UART_PARITY_NONE;
  huart1.Init.Mode = UART_MODE_TX_RX;
  huart1.Init.HwFlowCtl = UART_HWCONTROL_NONE;
  huart1.Init.OverSampling = UART_OVERSAMPLING_16;
  huart1.Init.OneBitSampling = UART_ONE_BIT_SAMPLE_DISABLE;
  huart1.Init.ClockPrescaler = UART_PRESCALER_DIV1;
  huart1.AdvancedInit.AdvFeatureInit = UART_ADVFEATURE_NO_INIT;
  if (HAL_UART_Init(&huart1) != HAL_OK) {
    Error_Handler();
  }
  if (HAL_UARTEx_SetTxFifoThreshold(&huart1, UART_TXFIFO_THRESHOLD_1_8) !=
      HAL_OK) {
    Error_Handler();
  }
  if (HAL_UARTEx_SetRxFifoThreshold(&huart1, UART_RXFIFO_THRESHOLD_1_8) !=
      HAL_OK) {
    Error_Handler();
  }
  if (HAL_UARTEx_DisableFifoMode(&huart1) != HAL_OK) {
    Error_Handler();
  }
}

static void MX_GPIO_Init(void) {
  GPIO_InitTypeDef GPIO_InitStruct = {0};

  /* GPIO Ports Clock Enable */
  __HAL_RCC_GPIOC_CLK_ENABLE();
  __HAL_RCC_GPIOF_CLK_ENABLE();
  __HAL_RCC_GPIOA_CLK_ENABLE();
  __HAL_RCC_GPIOB_CLK_ENABLE();

  /*Configure GPIO pin Output Level */
  HAL_GPIO_WritePin(TIM1_ENA_GPIO_Port, TIM1_ENA_Pin, GPIO_PIN_RESET);

  /*Configure GPIO pin : TIM1_ENA_Pin */
  GPIO_InitStruct.Pin = TIM1_ENA_Pin;
  GPIO_InitStruct.Mode = GPIO_MODE_OUTPUT_PP;
  GPIO_InitStruct.Pull = GPIO_PULLDOWN;
  GPIO_InitStruct.Speed = GPIO_SPEED_FREQ_LOW;
  HAL_GPIO_Init(TIM1_ENA_GPIO_Port, &GPIO_InitStruct);

}

void Error_Handler(void) {
  __disable_irq();
  while (1) {
  }
}
#ifdef USE_FULL_ASSERT
/**
 * @brief  Reports the name of the source file and the source line number
 *         where the assert_param error has occurred.
 * @param  file: pointer to the source file name
 * @param  line: assert_param error line source number
 * @retval None
 */
void assert_failed(uint8_t *file, uint32_t line) {
  /* USER CODE BEGIN 6 */
  /* User can add his own implementation to report the file name and line
     number, ex: printf("Wrong parameters value: file %s on line %d\r\n", file,
     line) */
  /* USER CODE END 6 */
}
#endif /* USE_FULL_ASSERT */
